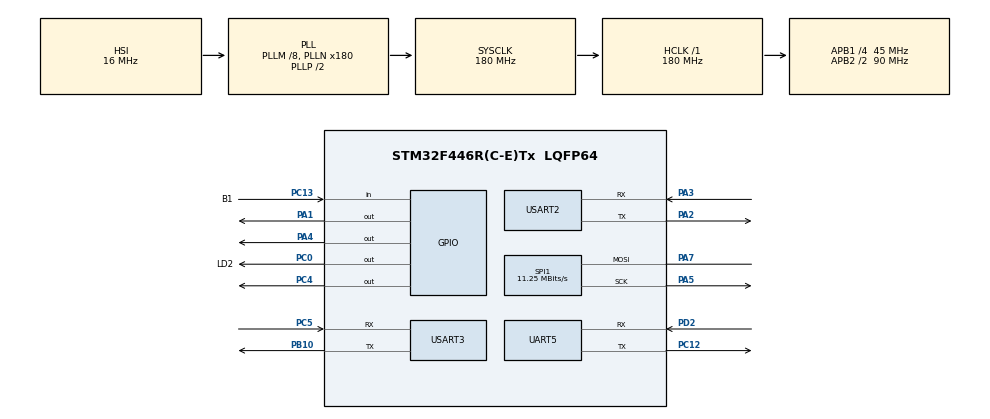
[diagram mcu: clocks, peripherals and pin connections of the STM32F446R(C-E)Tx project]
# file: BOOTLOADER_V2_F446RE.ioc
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Mcu.Family=STM32F4
Mcu.Name=STM32F446R(C-E)Tx
Mcu.Package=LQFP64
NVIC.PriorityGroup=NVIC_PRIORITYGROUP_4
PA1.Signal=GPIO_Output
PA2.Mode=Asynchronous
PA2.Signal=USART2_TX
PA3.Mode=Asynchronous
PA3.Signal=USART2_RX
PA4.Signal=GPIO_Output
PA5.Mode=Simplex_Bidirectional_Master
PA5.Signal=SPI1_SCK
PA7.Mode=Simplex_Bidirectional_Master
PA7.Signal=SPI1_MOSI
PB10.Mode=Asynchronous
PB10.Signal=USART3_TX
PC0.GPIO_Label=LD2
PC0.Signal=GPIO_Output
PC12.Mode=Asynchronous
PC12.Signal=UART5_TX
PC13.GPIO_Label=B1
PC13.Signal=GPIO_Input
PC4.Signal=GPIO_Output
PC5.Mode=Asynchronous
PC5.Signal=USART3_RX
PD2.Mode=Asynchronous
PD2.Signal=UART5_RX
ProjectManager.HeapSize=0x200
ProjectManager.StackSize=0x400
ProjectManager.TargetToolchain=STM32CubeIDE
RCC.AHBFreq_Value=180000000
RCC.APB1CLKDivider=RCC_HCLK_DIV4
RCC.APB1Freq_Value=45000000
RCC.APB1TimFreq_Value=90000000
RCC.APB2CLKDivider=RCC_HCLK_DIV2
RCC.APB2Freq_Value=90000000
RCC.APB2TimFreq_Value=180000000
RCC.CortexFreq_Value=180000000
RCC.HCLKFreq_Value=180000000
RCC.PLLM=8
RCC.PLLN=180
RCC.SYSCLKFreq_VALUE=180000000
RCC.SYSCLKSource=RCC_SYSCLKSOURCE_PLLCLK
RCC.USBFreq_Value=180000000
RCC.VCOOutputFreq_Value=360000000
SPI1.BaudRatePrescaler=SPI_BAUDRATEPRESCALER_8
SPI1.CalculateBaudRate=11.25 MBits/s
SPI1.Direction=SPI_DIRECTION_1LINE
SPI1.Mode=SPI_MODE_MASTER
SPI1.VirtualType=VM_MASTER
UART5.VirtualMode=Asynchronous
USART2.VirtualMode=VM_ASYNC
USART3.VirtualMode=VM_ASYNC
VP_CRC_VS_CRC.Mode=CRC_Activate
board=custom

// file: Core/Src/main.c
/* USER CODE BEGIN Header */
/**
  ******************************************************************************
  * @file           : main.c
  * @brief          : Main program body
  ******************************************************************************
  * @attention
  *
  * Copyright (c) 2025 STMicroelectronics.
  * All rights reserved.
  *
  * This software is licensed under terms that can be found in the LICENSE file
  * in the root directory of this software component.
  * If no LICENSE file comes with this software, it is provided AS-IS.
  *
  ******************************************************************************
  */
/* USER CODE END Header */
#include "main.h"

/* USER CODE BEGIN Includes */

#include "bootloader.h"
#include "display_app.h"
/* USER CODE END Includes */

CRC_HandleTypeDef hcrc;

SPI_HandleTypeDef hspi1;

UART_HandleTypeDef huart5;
UART_HandleTypeDef huart2;
UART_HandleTypeDef huart3;

void SystemClock_Config(void);
static void MX_GPIO_Init(void);
static void MX_CRC_Init(void);
static void MX_USART2_UART_Init(void);
static void MX_USART3_UART_Init(void);
static void MX_UART5_Init(void);
static void MX_SPI1_Init(void);

/* USER CODE BEGIN 0 */
void bootloader_main(void)
{
	if(HAL_GPIO_ReadPin(B1_GPIO_Port, B1_Pin) == GPIO_PIN_RESET)
	{
		C_UART = &huart5;
		printf("button pressed...entering the bootloader mode\n");
		bootloader_uart_read_data();
	}
	else
	{
		uint8_t rx_byte = 0;
		HAL_StatusTypeDef status;
		// Wait for 1 byte for up to 3 seconds
		status = HAL_UART_Receive(&huart3, &rx_byte, 1, UART_TIMEOUT_MS);
		if (status == HAL_OK && rx_byte == BOOT_CMD)
		{
			C_UART = &huart3;
			printf("BOOT_CMD (0x50) received...entering bootloader mode\n\r");
			bootloader_uart_read_data();
		}
		else
		{
			printf("No valid BOOT_CMD received...jumping to application\n\r");
			bootloader_jump_to_user_app();
		}
	}
}

#define PRINTF   int __io_putchar(int ch)
PRINTF
{
	HAL_UART_Transmit(&huart2, (uint8_t*)&ch, 1, HAL_MAX_DELAY);
	return ch;
}

/* USER CODE END 0 */

int main(void)
{

  /* MCU Configuration--------------------------------------------------------*/

  /* Reset of all peripherals, Initializes the Flash interface and the Systick. */
  HAL_Init();

  /* Configure the system clock */
  SystemClock_Config();

  /* Initialize all configured peripherals */
  MX_GPIO_Init();
  MX_CRC_Init();
  MX_USART2_UART_Init();
  MX_USART3_UART_Init();
  MX_UART5_Init();
  MX_SPI1_Init();
  /* USER CODE BEGIN 2 */
  InitializeDisplay();
  printf("bootloader running....\n");
  bootloader_main();
  /* USER CODE END 2 */

  /* Infinite loop */
  while (1)
  {

  }
}

void SystemClock_Config(void)
{
  RCC_OscInitTypeDef RCC_OscInitStruct = {0};
  RCC_ClkInitTypeDef RCC_ClkInitStruct = {0};

  /** Configure the main internal regulator output voltage
  */
  __HAL_RCC_PWR_CLK_ENABLE();
  __HAL_PWR_VOLTAGESCALING_CONFIG(PWR_REGULATOR_VOLTAGE_SCALE1);

  /** Initializes the RCC Oscillators according to the specified parameters
  * in the RCC_OscInitTypeDef structure.
  */
  RCC_OscInitStruct.OscillatorType = RCC_OSCILLATORTYPE_HSI;
  RCC_OscInitStruct.HSIState = RCC_HSI_ON;
  RCC_OscInitStruct.HSICalibrationValue = RCC_HSICALIBRATION_DEFAULT;
  RCC_OscInitStruct.PLL.PLLState = RCC_PLL_ON;
  RCC_OscInitStruct.PLL.PLLSource = RCC_PLLSOURCE_HSI;
  RCC_OscInitStruct.PLL.PLLM = 8;
  RCC_OscInitStruct.PLL.PLLN = 180;
  RCC_OscInitStruct.PLL.PLLP = RCC_PLLP_DIV2;
  RCC_OscInitStruct.PLL.PLLQ = 2;
  RCC_OscInitStruct.PLL.PLLR = 2;
  if (HAL_RCC_OscConfig(&RCC_OscInitStruct) != HAL_OK)
  {
    Error_Handler();
  }

  /** Activate the Over-Drive mode
  */
  if (HAL_PWREx_EnableOverDrive() != HAL_OK)
  {
    Error_Handler();
  }

  /** Initializes the CPU, AHB and APB buses clocks
  */
  RCC_ClkInitStruct.ClockType = RCC_CLOCKTYPE_HCLK|RCC_CLOCKTYPE_SYSCLK
                              |RCC_CLOCKTYPE_PCLK1|RCC_CLOCKTYPE_PCLK2;
  RCC_ClkInitStruct.SYSCLKSource = RCC_SYSCLKSOURCE_PLLCLK;
  RCC_ClkInitStruct.AHBCLKDivider = RCC_SYSCLK_DIV1;
  RCC_ClkInitStruct.APB1CLKDivider = RCC_HCLK_DIV4;
  RCC_ClkInitStruct.APB2CLKDivider = RCC_HCLK_DIV2;

  if (HAL_RCC_ClockConfig(&RCC_ClkInitStruct, FLASH_LATENCY_5) != HAL_OK)
  {
    Error_Handler();
  }
}

static void MX_CRC_Init(void)
{

  hcrc.Instance = CRC;
  if (HAL_CRC_Init(&hcrc) != HAL_OK)
  {
    Error_Handler();
  }

}

static void MX_SPI1_Init(void)
{

  /* SPI1 parameter configuration*/
  hspi1.Instance = SPI1;
  hspi1.Init.Mode = SPI_MODE_MASTER;
  hspi1.Init.Direction = SPI_DIRECTION_1LINE;
  hspi1.Init.DataSize = SPI_DATASIZE_8BIT;
  hspi1.Init.CLKPolarity = SPI_POLARITY_LOW;
  hspi1.Init.CLKPhase = SPI_PHASE_1EDGE;
  hspi1.Init.NSS = SPI_NSS_SOFT;
  hspi1.Init.BaudRatePrescaler = SPI_BAUDRATEPRESCALER_8;
  hspi1.Init.FirstBit = SPI_FIRSTBIT_MSB;
  hspi1.Init.TIMode = SPI_TIMODE_DISABLE;
  hspi1.Init.CRCCalculation = SPI_CRCCALCULATION_DISABLE;
  hspi1.Init.CRCPolynomial = 10;
  if (HAL_SPI_Init(&hspi1) != HAL_OK)
  {
    Error_Handler();
  }

}

static void MX_UART5_Init(void)
{

  huart5.Instance = UART5;
  huart5.Init.BaudRate = 115200;
  huart5.Init.WordLength = UART_WORDLENGTH_8B;
  huart5.Init.StopBits = UART_STOPBITS_1;
  huart5.Init.Parity = UART_PARITY_NONE;
  huart5.Init.Mode = UART_MODE_TX_RX;
  huart5.Init.HwFlowCtl = UART_HWCONTROL_NONE;
  huart5.Init.OverSampling = UART_OVERSAMPLING_16;
  if (HAL_UART_Init(&huart5) != HAL_OK)
  {
    Error_Handler();
  }

}

static void MX_USART2_UART_Init(void)
{

  huart2.Instance = USART2;
  huart2.Init.BaudRate = 115200;
  huart2.Init.WordLength = UART_WORDLENGTH_8B;
  huart2.Init.StopBits = UART_STOPBITS_1;
  huart2.Init.Parity = UART_PARITY_NONE;
  huart2.Init.Mode = UART_MODE_TX_RX;
  huart2.Init.HwFlowCtl = UART_HWCONTROL_NONE;
  huart2.Init.OverSampling = UART_OVERSAMPLING_16;
  if (HAL_UART_Init(&huart2) != HAL_OK)
  {
    Error_Handler();
  }

}

static void MX_USART3_UART_Init(void)
{

  huart3.Instance = USART3;
  huart3.Init.BaudRate = 115200;
  huart3.Init.WordLength = UART_WORDLENGTH_8B;
  huart3.Init.StopBits = UART_STOPBITS_1;
  huart3.Init.Parity = UART_PARITY_NONE;
  huart3.Init.Mode = UART_MODE_TX_RX;
  huart3.Init.HwFlowCtl = UART_HWCONTROL_NONE;
  huart3.Init.OverSampling = UART_OVERSAMPLING_16;
  if (HAL_UART_Init(&huart3) != HAL_OK)
  {
    Error_Handler();
  }

}

static void MX_GPIO_Init(void)
{
  GPIO_InitTypeDef GPIO_InitStruct = {0};

  /* GPIO Ports Clock Enable */
  __HAL_RCC_GPIOC_CLK_ENABLE();
  __HAL_RCC_GPIOA_CLK_ENABLE();
  __HAL_RCC_GPIOB_CLK_ENABLE();
  __HAL_RCC_GPIOD_CLK_ENABLE();

  /*Configure GPIO pin Output Level */
  HAL_GPIO_WritePin(GPIOC, LD2_Pin|GPIO_PIN_4, GPIO_PIN_RESET);

  /*Configure GPIO pin Output Level */
  HAL_GPIO_WritePin(GPIOA, GPIO_PIN_1|GPIO_PIN_4, GPIO_PIN_RESET);

  /*Configure GPIO pin : B1_Pin */
  GPIO_InitStruct.Pin = B1_Pin;
  GPIO_InitStruct.Mode = GPIO_MODE_INPUT;
  GPIO_InitStruct.Pull = GPIO_NOPULL;
  HAL_GPIO_Init(B1_GPIO_Port, &GPIO_InitStruct);

  /*Configure GPIO pins : LD2_Pin PC4 */
  GPIO_InitStruct.Pin = LD2_Pin|GPIO_PIN_4;
  GPIO_InitStruct.Mode = GPIO_MODE_OUTPUT_PP;
  GPIO_InitStruct.Pull = GPIO_NOPULL;
  GPIO_InitStruct.Speed = GPIO_SPEED_FREQ_LOW;
  HAL_GPIO_Init(GPIOC, &GPIO_InitStruct);

  /*Configure GPIO pins : PA1 PA4 */
  GPIO_InitStruct.Pin = GPIO_PIN_1|GPIO_PIN_4;
  GPIO_InitStruct.Mode = GPIO_MODE_OUTPUT_PP;
  GPIO_InitStruct.Pull = GPIO_NOPULL;
  GPIO_InitStruct.Speed = GPIO_SPEED_FREQ_LOW;
  HAL_GPIO_Init(GPIOA, &GPIO_InitStruct);

}

void Error_Handler(void)
{
  __disable_irq();
  while (1)
  {
  }
}
